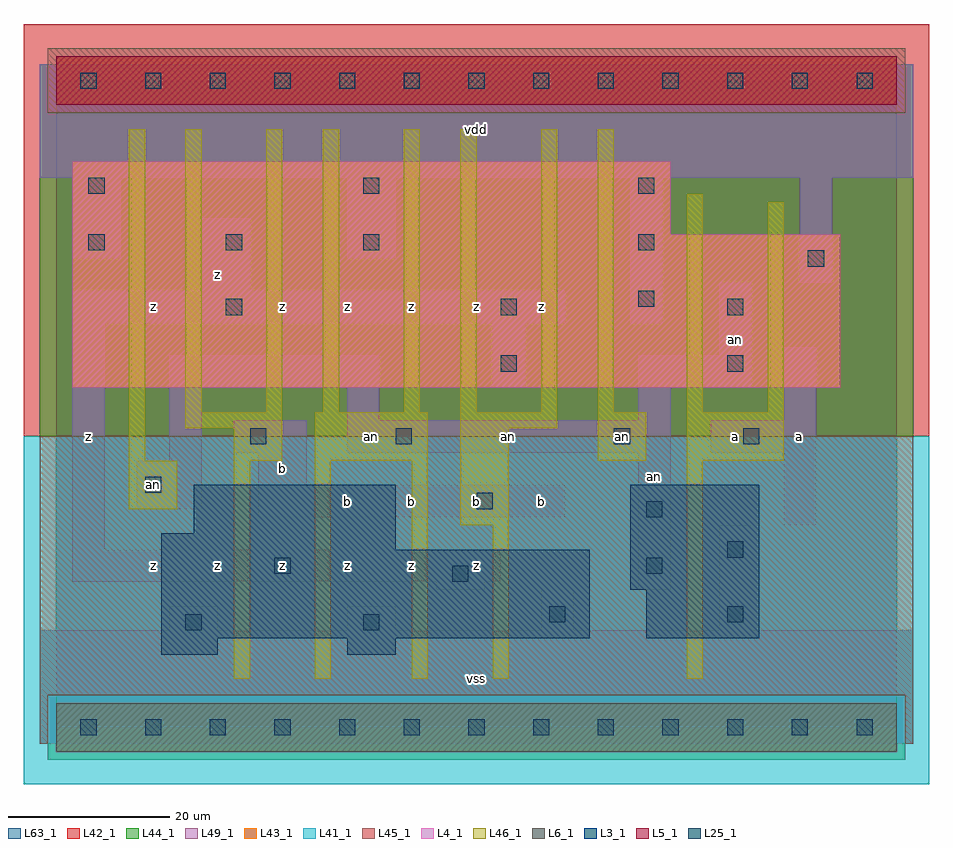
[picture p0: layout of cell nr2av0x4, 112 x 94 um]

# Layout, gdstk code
import gdstk
lib = gdstk.Library(unit=1e-6, precision=1e-09)
def R(c, l, rs):  # rectangles x0, y0, x1, y1
    for r in rs: c.add(gdstk.rectangle(r[:2], r[2:], *l))
def A(c, l, x, y, w, h, nx, ny, dx, dy):  # array of equal rectangles
    R(c, l, [(x+i*dx, y+j*dy, x+i*dx+w, y+j*dy+h) for i in range(nx) for j in range(ny)])
L3_1 = (3, 1)
L4_1 = (4, 1)
L5_1 = (5, 1)
L6_1 = (6, 1)
L25_1 = (25, 1)
L41_1 = (41, 1)
L42_1 = (42, 1)
L43_1 = (43, 1)
L44_1 = (44, 1)
L45_1 = (45, 1)
L46_1 = (46, 1)
L49_1 = (49, 1)
L63_1 = (63, 1)

nr2av0x4 = lib.new_cell('nr2av0x4')
R(nr2av0x4, L3_1, [(13,9,20,11), (36,9,42,11), (13,11,66,22), (73,11,87,17), (71,17,87,30), (13,22,42,24), (17,24,42,30)])
R(nr2av0x4, L4_1, [(2,42,97,61), (2,61,76,70)])
R(nr2av0x4, L5_1, [(0,77,104,83)])
R(nr2av0x4, L6_1, [(0,-3,104,3), (0,-3,104,3)])
A(nr2av0x4, L25_1, 3, -1, 2, 2, 13, 2, 8, 80)
A(nr2av0x4, L25_1, 4, 59, 2, 2, 3, 1, 17, 0)
A(nr2av0x4, L25_1, 4, 66, 2, 2, 3, 1, 34, 0)
R(nr2av0x4, L25_1, [(16,12,18,14), (38,12,40,14), (61,13,63,15), (83,13,85,15), (49,18,51,20), (27,19,29,21), (73,19,75,21), (83,21,85,23), (73,26,75,28), (52,27,54,29), (11,29,13,31), (24,35,26,37), (42,35,44,37), (69,35,71,37), (85,35,87,37), (55,44,57,46), (83,44,85,46), (21,51,23,53), (55,51,57,53), (83,51,85,53), (72,52,74,54), (93,57,95,59), (72,59,74,61)])
R(nr2av0x4, L41_1, [(-4,-7,108,36)])
R(nr2av0x4, L42_1, [(-4,36,108,87)])
R(nr2av0x4, L43_1, [(0,-3,104,3), (13,9,20,11), (36,9,42,11), (13,11,66,22), (73,11,87,17), (71,17,87,30), (13,22,42,24), (17,24,42,30), (2,42,97,61), (2,61,76,70), (0,77,104,83)])
R(nr2av0x4, L44_1, [(-1,-4,105,4), (-2,36,106,76), (-2,76,-1,82), (105,76,106,82)])
R(nr2av0x4, L45_1, [(-2,-2,-1,4), (105,-2,106,4), (-2,4,106,36), (-1,76,105,84)])
R(nr2av0x4, L46_1, [(22,6,24,33), (32,6,34,33), (44,6,46,33), (54,6,56,25), (78,6,80,33), (50,25,56,37), (9,27,15,33), (9,33,11,74), (22,33,28,37), (32,33,46,39), (67,33,73,39), (78,33,90,39), (16,37,28,39), (50,37,62,39), (16,39,18,74), (26,39,28,74), (33,39,35,74), (43,39,45,74), (50,39,52,74), (60,39,62,74), (67,39,69,74), (78,39,80,66), (88,39,90,65)])
R(nr2av0x4, L49_1, [(-2,-2,106,12), (14,12,20,15), (36,12,42,15), (60,12,64,17), (82,12,86,25), (47,17,53,18), (72,17,76,34), (2,18,55,22), (2,22,6,50), (90,25,94,34), (25,26,63,30), (10,27,18,33), (25,30,31,34), (14,33,18,42), (22,34,31,38), (36,34,76,38), (81,34,94,38), (36,38,40,42), (72,38,76,42), (90,38,94,47), (14,42,40,46), (54,42,58,50), (72,42,86,46), (82,46,86,55), (2,50,63,54), (71,50,75,68), (18,54,24,63), (92,55,96,68), (2,58,8,68), (36,58,42,68), (-2,68,106,82)])
R(nr2av0x4, L63_1, [(0,0,104,80)])
nr2av0x4.add(gdstk.Label('an', (12,30), layer=49, texttype=1))
nr2av0x4.add(gdstk.Label('an', (39,36), layer=46, texttype=1))
nr2av0x4.add(gdstk.Label('an', (70,36), layer=49, texttype=1))
nr2av0x4.add(gdstk.Label('z', (12,20), layer=49, texttype=1))
nr2av0x4.add(gdstk.Label('an', (14,30), layer=49, texttype=1))
nr2av0x4.add(gdstk.Label('z', (4,36), layer=49, texttype=1))
nr2av0x4.add(gdstk.Label('z', (12,52), layer=49, texttype=1))
nr2av0x4.add(gdstk.Label('z', (20,20), layer=49, texttype=1))
nr2av0x4.add(gdstk.Label('z', (28,20), layer=49, texttype=1))
nr2av0x4.add(gdstk.Label('z', (36,20), layer=49, texttype=1))
nr2av0x4.add(gdstk.Label('b', (36,28), layer=49, texttype=1))
nr2av0x4.add(gdstk.Label('b', (28,32), layer=49, texttype=1))
nr2av0x4.add(gdstk.Label('z', (28,52), layer=49, texttype=1))
nr2av0x4.add(gdstk.Label('z', (36,52), layer=49, texttype=1))
nr2av0x4.add(gdstk.Label('z', (20,56), layer=49, texttype=1))
nr2av0x4.add(gdstk.Label('vss', (52,6), layer=49, texttype=1))
nr2av0x4.add(gdstk.Label('z', (44,20), layer=49, texttype=1))
nr2av0x4.add(gdstk.Label('b', (44,28), layer=49, texttype=1))
nr2av0x4.add(gdstk.Label('z', (52,20), layer=49, texttype=1))
nr2av0x4.add(gdstk.Label('b', (52,28), layer=49, texttype=1))
nr2av0x4.add(gdstk.Label('b', (60,28), layer=49, texttype=1))
nr2av0x4.add(gdstk.Label('z', (52,52), layer=49, texttype=1))
nr2av0x4.add(gdstk.Label('z', (60,52), layer=49, texttype=1))
nr2av0x4.add(gdstk.Label('z', (44,52), layer=49, texttype=1))
nr2av0x4.add(gdstk.Label('vdd', (52,74), layer=49, texttype=1))
nr2av0x4.add(gdstk.Label('an', (74,31), layer=49, texttype=1))
nr2av0x4.add(gdstk.Label('an', (56,36), layer=49, texttype=1))
nr2av0x4.add(gdstk.Label('a', (84,36), layer=49, texttype=1))
nr2av0x4.add(gdstk.Label('a', (92,36), layer=49, texttype=1))
nr2av0x4.add(gdstk.Label('an', (84,48), layer=49, texttype=1))

lib.write_gds('nr2av0x4.gds')
